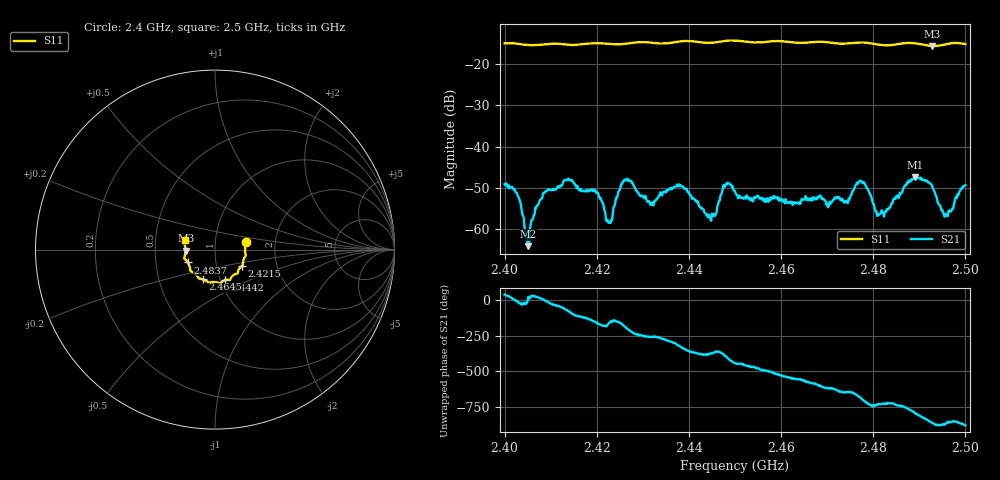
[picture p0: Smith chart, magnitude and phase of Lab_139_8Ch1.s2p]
# Hz S RI R 50
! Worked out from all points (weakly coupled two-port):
!   601 points, 2.4 GHz to 2.5 GHz, reference 50 ohm
!   highest |S21| = -47.35 dB at 2.489 GHz (marker M1); lowest = -64.0 dB at 2.4052 GHz (marker M2)
!   lowest |S11| = -15.7 dB at 2.4928 GHz (marker M3), VSWR 1.39, Z = 36 - j0.375 ohm
!   |S11| at or under -10 dB: start of sweep to end of sweep
!   S12 and S22 are empty: the file has one direction only
!   S11 on the Smith chart (normalised r, x): 2.4 GHz: 1.41, +0.12; 2.4215 GHz: 1.33, -0.25; 2.4442 GHz: 1.05, -0.37; 2.4645 GHz: 0.83, -0.29; 2.4837 GHz: 0.73, -0.11; 2.5 GHz: 0.71, +0.07
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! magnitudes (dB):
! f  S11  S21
! 2.4 GHz  -15.1  -49.1
! 2.4027 GHz  -15.2  -51.2
! 2.4052 GHz  -15.5  -64.0
! 2.4088 GHz  -15.3  -50.9
! 2.4167 GHz  -15.3  -50.6
! 2.4215 GHz  -15.1  -54.3
! 2.4228 GHz  -15.2  -58.2
! 2.4262 GHz  -15.2  -48.0
! 2.4333 GHz  -15.1  -52.2
! 2.4383 GHz  -14.6  -49.5
! 2.4442 GHz  -15.0  -57.1
! 2.45 GHz  -14.4  -50.8
! 2.4645 GHz  -15.0  -52.6
! 2.4667 GHz  -14.8  -53.0
! 2.4775 GHz  -14.9  -48.4
! 2.4808 GHz  -15.3  -56.7
! 2.4833 GHz  -15.6  -55.0
! 2.4837 GHz  -15.5  -54.7
! 2.489 GHz  -15.0  -47.3
! 2.4928 GHz  -15.7  -49.7
! 2.4957 GHz  -15.3  -56.3
! 2.5 GHz  -15.3  -49.3
